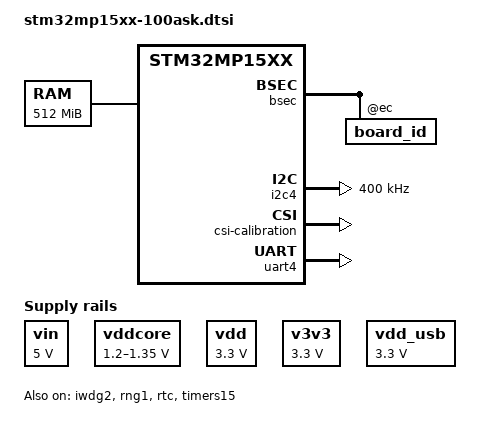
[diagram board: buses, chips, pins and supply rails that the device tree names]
// SPDX-License-Identifier: (GPL-2.0+ OR BSD-3-Clause)
/*
 * Copyright (C) STMicroelectronics 2019 - All Rights Reserved
 * Author: Alexandre Torgue <alexandre.torgue@st.com> for STMicroelectronics.
 */

#include <dt-bindings/clock/stm32mp1-clksrc.h>
#include <dt-bindings/power/stm32mp1-power.h>

/ {
	memory@c0000000 {
		device_type = "memory";
		reg = <0xc0000000 0x20000000>;
	};

	vin: vin {
		compatible = "regulator-fixed";
		regulator-name = "vin";
		regulator-min-microvolt = <5000000>;
		regulator-max-microvolt = <5000000>;
		regulator-always-on;
	};

	vddcore: regulator-vddcore {
		compatible = "regulator-fixed";
		regulator-name = "vddcore";
		regulator-min-microvolt = <1200000>;
		regulator-max-microvolt = <1350000>;
		regulator-off-in-suspend;
		regulator-always-on;
	};

	vdd: regulator-vdd {
		compatible = "regulator-fixed";
		regulator-name = "vdd";
		regulator-min-microvolt = <3300000>;
		regulator-max-microvolt = <3300000>;
		regulator-off-in-suspend;
		regulator-always-on;
	};
	
	v3v3: regulator-v3v3 {
		compatible = "regulator-fixed";
		regulator-name = "v3v3";
		regulator-min-microvolt = <3300000>;
		regulator-max-microvolt = <3300000>;
		regulator-off-in-suspend;
		regulator-always-on;
	};
		
	vdd_usb: regulator-vdd-usb {
		compatible = "regulator-fixed";
		regulator-name = "vdd_usb";
		regulator-min-microvolt = <3300000>;
		regulator-max-microvolt = <3300000>;
		regulator-off-in-suspend;
		regulator-always-on;
	};
};

&bsec {
	board_id: board_id@ec {
		reg = <0xec 0x4>;
		st,non-secure-otp;
	};
};

&cpu0{
	cpu-supply = <&vddcore>;
};

&i2c4 {
	compatible = "st,stm32mp15-i2c-non-secure";
	pinctrl-names = "default";
	pinctrl-0 = <&i2c4_pins_a>;
	i2c-scl-rising-time-ns = <185>;
	i2c-scl-falling-time-ns = <20>;
	clock-frequency = <400000>;
	status = "okay";
};

&iwdg2 {
	timeout-sec = <32>;
	secure-timeout-sec = <15>;
	status = "okay";
};

&osc_calibration {
	csi-calibration {
		status = "okay";
	};

	hsi-calibration {
		status = "okay";
	};
};

&pwr_regulators {
	system_suspend_supported_soc_modes = <
		STM32_PM_CSLEEP_RUN
		STM32_PM_CSTOP_ALLOW_LP_STOP
		STM32_PM_CSTOP_ALLOW_STANDBY_DDR_SR
	>;
	system_off_soc_mode = <STM32_PM_CSTOP_ALLOW_STANDBY_DDR_OFF>;
	vdd-supply = <&vdd>;
	vdd_3v3_usbfs-supply = <&vdd_usb>;
};

&rcc {
	st,clksrc = <
		CLK_MPU_PLL1P
		CLK_AXI_PLL2P
		CLK_MCU_PLL3P
		CLK_PLL12_HSE
		CLK_PLL3_HSE
		CLK_PLL4_HSE
		CLK_RTC_LSE
		CLK_MCO1_DISABLED
		CLK_MCO2_DISABLED
	>;

	st,clkdiv = <
		1 /*MPU*/
		0 /*AXI*/
		0 /*MCU*/
		1 /*APB1*/
		1 /*APB2*/
		1 /*APB3*/
		1 /*APB4*/
		2 /*APB5*/
		23 /*RTC*/
		0 /*MCO1*/
		0 /*MCO2*/
	>;

	st,pkcs = <
		CLK_CKPER_HSE
		CLK_FMC_ACLK
		CLK_QSPI_ACLK
		CLK_ETH_PLL4P
		CLK_SDMMC12_PLL4P
		CLK_DSI_DSIPLL
		CLK_STGEN_HSE
		CLK_USBPHY_HSE
		CLK_SPI2S1_PLL3Q
		CLK_SPI2S23_PLL3Q
		CLK_SPI45_HSI
		CLK_SPI6_HSI
		CLK_I2C46_HSI
		CLK_SDMMC3_PLL4P
		CLK_USBO_USBPHY
		CLK_ADC_CKPER
		CLK_CEC_LSE
		CLK_I2C12_HSI
		CLK_I2C35_HSI
		CLK_UART1_HSI
		CLK_UART24_HSI
		CLK_UART35_HSI
		CLK_UART6_HSI
		CLK_UART78_HSI
		CLK_SPDIF_PLL4P
		CLK_FDCAN_PLL4R
		CLK_SAI1_PLL3Q
		CLK_SAI2_PLL3Q
		CLK_SAI3_PLL3Q
		CLK_SAI4_PLL3Q
		CLK_RNG1_CSI
		CLK_RNG2_LSI
		CLK_LPTIM1_PCLK1
		CLK_LPTIM23_PCLK3
		CLK_LPTIM45_LSE
	>;

	/* VCO = 1066.0 MHz => P = 266 (AXI), Q = 533 (GPU), R = 533 (DDR) */
	pll2: st,pll@1 {
		compatible = "st,stm32mp1-pll";
		reg = <1>;
		cfg = <2 65 1 0 0 PQR(1,1,1)>;
		frac = <0x1400>;
	};

	/* VCO = 417.8 MHz => P = 209, Q = 24, R = 11 */
	pll3: st,pll@2 {
		compatible = "st,stm32mp1-pll";
		reg = <2>;
		cfg = <1 33 1 16 36 PQR(1,1,1)>;
		frac = <0x1a04>;
	};

	/* VCO = 594.0 MHz => P = 99, Q = 74, R = 74 */
	pll4: st,pll@3 {
		compatible = "st,stm32mp1-pll";
		reg = <3>;
		cfg = <3 98 5 7 7 PQR(1,1,1)>;
	};
};

&rng1 {
	status = "okay";
};

&rtc {
	status = "okay";
};

&timers15 {
	status = "okay";

	counter {
		status = "okay";
	};
};

&uart4 {
	pinctrl-names = "default";
	pinctrl-0 = <&uart4_pins_d>;
	status = "okay";
};

&uart7 {
	pinctrl-names = "default";
	pinctrl-0 = <&uart7_pins_c>;
	status = "disabled";
};

&usart3 {
	pinctrl-names = "default";
	pinctrl-0 = <&usart3_pins_c>;
	uart-has-rtscts;
	status = "disabled";
};
